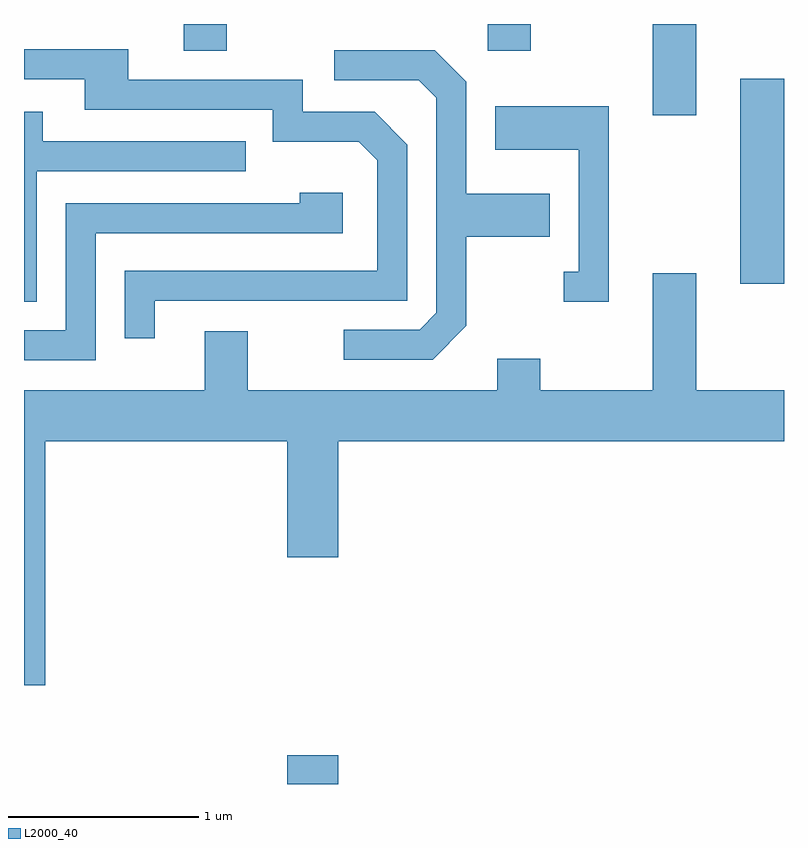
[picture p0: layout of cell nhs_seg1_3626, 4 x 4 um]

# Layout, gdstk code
import gdstk
lib = gdstk.Library(unit=1e-6, precision=1e-09)
def R(c, l, rs):  # rectangles x0, y0, x1, y1
    for r in rs: c.add(gdstk.rectangle(r[:2], r[2:], *l))
def P(c, l, *ps):  # polygons
    for p in ps: c.add(gdstk.Polygon(p, *l))
L2000_40 = (2000, 40)

nhs_seg1_3626 = lib.new_cell('nhs_seg1_3626')
R(nhs_seg1_3626, L2000_40, [(294.996,957.712,295.264,957.864), (297.381,960.346,297.611,961.424), (296.921,961.231,297.149,961.712), (294.451,961.571,294.679,961.712), (296.051,961.571,296.279,961.712)])
P(nhs_seg1_3626, L2000_40, [(294.299,960.256),(295.629,960.256),(295.629,961.077),(295.457,961.249),(295.079,961.249),(295.079,961.419),(294.159,961.419),(294.159,961.579),(293.611,961.579),(293.611,961.421),(293.931,961.421),(293.931,961.261),(294.921,961.261),(294.921,961.091),(295.374,961.091),(295.471,960.994),(295.471,960.414),(294.141,960.414),(294.141,960.058),(294.299,960.058)],
  [(295.939,960.124),(295.939,960.591),(296.379,960.591),(296.379,960.819),(295.939,960.819),(295.939,961.407),(295.772,961.574),(295.243,961.574),(295.243,961.416),(295.689,961.416),(295.781,961.324),(295.781,960.192),(295.694,960.104),(295.293,960.104),(295.293,959.946),(295.762,959.946)],
  [(296.689,961.279),(296.091,961.279),(296.091,961.051),(296.531,961.051),(296.531,960.409),(296.453,960.409),(296.453,960.251),(296.689,960.251)],
  [(293.679,960.936),(294.778,960.936),(294.778,961.094),(293.709,961.094),(293.709,961.249),(293.611,961.249),(293.611,960.251),(293.679,960.251)],
  [(293.989,960.611),(295.289,960.611),(295.289,960.824),(295.061,960.824),(295.061,960.769),(293.831,960.769),(293.831,960.099),(293.611,960.099),(293.611,959.941),(293.989,959.941)],
  [(294.789,960.094),(294.561,960.094),(294.561,959.784),(293.611,959.784),(293.611,958.231),(293.724,958.231),(293.724,959.516),(294.996,959.516),(294.996,958.906),(295.264,958.906),(295.264,959.516),(297.611,959.516),(297.611,959.784),(297.149,959.784),(297.149,960.399),(296.921,960.399),(296.921,959.784),(296.329,959.784),(296.329,959.949),(296.101,959.949),(296.101,959.784),(294.789,959.784)])

lib.write_gds('nhs_seg1_3626.gds')
